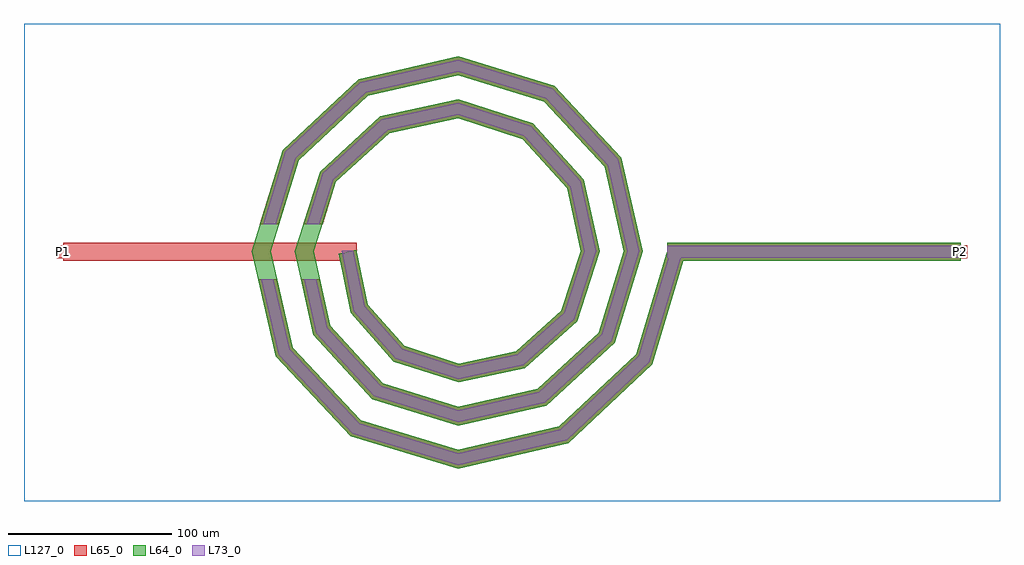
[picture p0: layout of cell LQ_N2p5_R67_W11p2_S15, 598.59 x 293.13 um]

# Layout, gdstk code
import gdstk
lib = gdstk.Library(unit=1e-6, precision=1e-09)
def R(c, l, rs):  # rectangles x0, y0, x1, y1
    for r in rs: c.add(gdstk.rectangle(r[:2], r[2:], *l))
def P(c, l, *ps):  # polygons
    for p in ps: c.add(gdstk.Polygon(p, *l))
L64_0 = (64, 0)
L65_0 = (65, 0)
L73_0 = (73, 0)
L127_0 = (127, 0)

lq_n2p5_r67_w11p2_s15 = lib.new_cell('LQ_N2p5_R67_W11p2_S15')
R(lq_n2p5_r67_w11p2_s15, L64_0, [(128.423,-5.6,308.423,5.6)])
P(lq_n2p5_r67_w11p2_s15, L64_0, [(-55.419,-32.39),(-32.912,-57.667),(0.321,-68.605),(35.676,-61.17),(63.39,-36.248),(75.229,0.295),(66.919,38.967),(39.581,69.115),(0.272,81.854),(-42.261,72.667),(-74.842,42.91),(-88.478,0.253),(-78.413,-45.558),(-46.238,-80.57),(0.237,-95.103),(48.856,-84.158),(86.3,-49.563),(101.728,0.222),(89.902,52.156),(52.887,92.03),(0.209,108.352),(-55.458,95.646),(-97.762,56.21),(-114.977,0.198),(-101.389,-58.761),(-59.532,-103.494),(0.187,-121.602),(62.065,-107.131),(109.226,-62.853),(128.661,1.616),(139.384,-1.616),(119.083,-68.962),(67.541,-117.353),(0.187,-133.192),(-65.657,-113.34),(-111.62,-64.219),(-126.567,0.198),(-107.597,62.354),(-60.897,105.887),(0.209,119.941),(59.051,101.853),(100.156,57.574),(113.315,0.222),(96.108,-55.75),(54.249,-94.424),(0.237,-106.69),(-52.45,-90.362),(-88.694,-50.922),(-100.064,0.253),(-84.615,49.152),(-47.593,82.965),(0.272,93.438),(45.856,78.867),(77.237,44.262),(86.812,0.295),(73.117,-42.564),(40.927,-71.511),(0.321,-80.185),(-39.274,-67.364),(-65.787,-37.588),(-73.256,-1.124),(-62.284,1.124)])
R(lq_n2p5_r67_w11p2_s15, L65_0, [(-242.17,-5.6,-62.17,5.6), (128.423,-5.6,308.423,5.6), (-246.17,-4,-238.17,4), (304.423,-4,312.423,4)])
P(lq_n2p5_r67_w11p2_s15, L65_0, [(-101.389,-58.761),(-59.532,-103.494),(0.188,-121.602),(62.065,-107.131),(109.226,-62.853),(128.661,1.616),(139.384,-1.616),(119.083,-68.962),(67.541,-117.353),(0.188,-133.192),(-65.657,-113.34),(-111.62,-64.219),(-122.623,-16.8),(-111.125,-16.8)],
  [(-78.413,-45.558),(-46.238,-80.57),(0.237,-95.103),(48.856,-84.158),(86.3,-49.563),(101.728,0.222),(89.902,52.156),(52.887,92.03),(0.209,108.353),(-55.458,95.646),(-97.762,56.21),(-109.79,16.8),(-121.5,16.8),(-107.597,62.354),(-60.897,105.887),(0.209,119.941),(59.051,101.853),(100.156,57.574),(113.315,0.222),(96.108,-55.75),(54.249,-94.424),(0.237,-106.69),(-52.45,-90.362),(-88.694,-50.922),(-96.275,-16.8),(-84.802,-16.8)],
  [(-32.912,-57.667),(0.321,-68.605),(35.676,-61.17),(63.39,-36.248),(75.229,0.295),(66.919,38.967),(39.581,69.115),(0.272,81.854),(-42.261,72.667),(-74.842,42.91),(-83.091,16.8),(-94.836,16.8),(-84.615,49.152),(-47.593,82.965),(0.272,93.438),(45.857,78.867),(77.237,44.262),(86.812,0.295),(73.117,-42.564),(40.927,-71.511),(0.321,-80.185),(-39.274,-67.364),(-65.787,-37.588),(-73.256,-1.124),(-62.284,1.124),(-55.419,-32.39)])
R(lq_n2p5_r67_w11p2_s15, L73_0, [(128.423,-3.6,308.423,3.6)])
P(lq_n2p5_r67_w11p2_s15, L73_0, [(-103.216,-59.736),(-60.626,-105.252),(0.121,-123.672),(63.043,-108.956),(110.986,-63.944),(130.576,1.039),(137.469,-1.039),(117.323,-67.871),(66.563,-115.527),(0.121,-131.123),(-64.563,-111.582),(-109.793,-63.245),(-120.57,-16.8),(-113.178,-16.8)],
  [(-80.249,-46.515),(-47.347,-82.319),(0.152,-97.172),(49.819,-85.991),(88.051,-50.668),(103.797,0.143),(91.733,53.124),(53.988,93.784),(0.135,110.422),(-56.429,97.475),(-99.518,57.307),(-111.881,16.8),(-119.409,16.8),(-105.84,61.257),(-59.926,104.059),(0.135,117.872),(57.95,100.099),(98.325,56.606),(111.246,0.143),(94.357,-54.645),(53.286,-92.591),(0.152,-104.621),(-51.341,-88.614),(-86.858,-49.964),(-94.226,-16.8),(-86.851,-16.8)],
  [(-34.048,-59.399),(0.206,-70.673),(36.614,-63.017),(65.127,-37.376),(77.298,0.189),(68.762,39.913),(40.701,70.856),(0.175,83.922),(-43.213,74.506),(-76.587,44.025),(-85.188,16.8),(-92.739,16.8),(-82.87,48.038),(-46.641,81.126),(0.175,91.369),(44.736,77.126),(75.395,43.316),(84.743,0.189),(71.38,-41.436),(39.99,-69.665),(0.206,-78.117),(-38.138,-65.633),(-63.936,-36.66),(-71.297,0.722),(-64.243,0.722),(-57.271,-33.318)])
R(lq_n2p5_r67_w11p2_s15, L127_0, [(-266.17,-153.192,332.423,139.941)])
lq_n2p5_r67_w11p2_s15.add(gdstk.Label('P2', (308.423,0), layer=65, texttype=0))
lq_n2p5_r67_w11p2_s15.add(gdstk.Label('P1', (-242.17,0), layer=65, texttype=0))
lq_n2p5_r67_w11p2_s15.add(gdstk.Label('P2', (312.423,0), layer=145, texttype=0))
lq_n2p5_r67_w11p2_s15.add(gdstk.Label('P1', (-246.17,0), layer=145, texttype=0))

lib.write_gds('LQ_N2p5_R67_W11p2_S15.gds')
